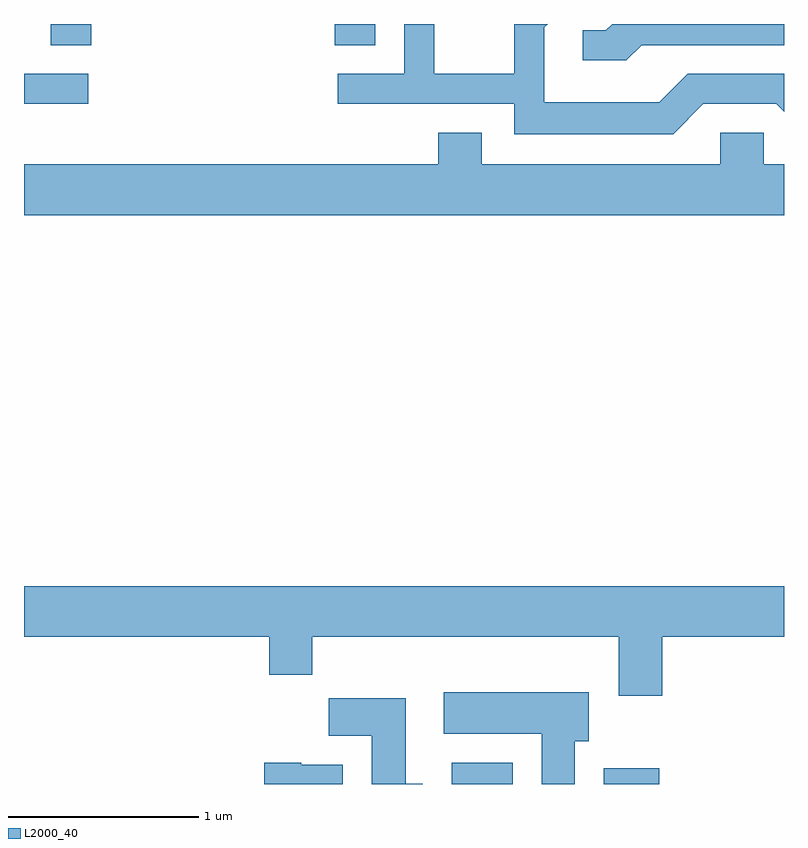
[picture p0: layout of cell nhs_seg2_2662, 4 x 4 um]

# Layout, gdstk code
import gdstk
lib = gdstk.Library(unit=1e-6, precision=1e-09)
def R(c, l, rs):  # rectangles x0, y0, x1, y1
    for r in rs: c.add(gdstk.rectangle(r[:2], r[2:], *l))
def P(c, l, *ps):  # polygons
    for p in ps: c.add(gdstk.Polygon(p, *l))
L2000_40 = (2000, 40)

nhs_seg2_2662 = lib.new_cell('nhs_seg2_2662')
R(nhs_seg2_2662, L2000_40, [(265.861,1009.802,266.184,1009.914), (266.661,1009.802,266.954,1009.884), (263.611,1013.381,263.948,1013.539), (263.751,1013.691,263.964,1013.802), (265.246,1013.691,265.459,1013.802)])
P(nhs_seg2_2662, L2000_40, [(267.187,1013.381),(267.569,1013.381),(267.611,1013.339),(267.611,1013.539),(267.104,1013.539),(266.954,1013.389),(266.349,1013.389),(266.349,1013.784),(266.367,1013.802),(266.191,1013.802),(266.191,1013.539),(265.769,1013.539),(265.769,1013.802),(265.611,1013.802),(265.611,1013.539),(265.263,1013.539),(265.263,1013.381),(266.191,1013.381),(266.191,1013.221),(267.027,1013.221)],
  [(266.862,1013.691),(267.611,1013.691),(267.611,1013.802),(266.707,1013.802),(266.674,1013.769),(266.553,1013.769),(266.553,1013.611),(266.782,1013.611)],
  [(267.611,1013.064),(267.504,1013.064),(267.504,1013.229),(267.276,1013.229),(267.276,1013.064),(266.019,1013.064),(266.019,1013.229),(265.791,1013.229),(265.791,1013.064),(263.611,1013.064),(263.611,1012.796),(267.611,1012.796)],
  [(266.969,1010.576),(267.611,1010.576),(267.611,1010.844),(263.611,1010.844),(263.611,1010.576),(264.901,1010.576),(264.901,1010.376),(265.129,1010.376),(265.129,1010.576),(266.741,1010.576),(266.741,1010.266),(266.969,1010.266)],
  [(266.509,1010.026),(266.584,1010.026),(266.584,1010.284),(265.821,1010.284),(265.821,1010.066),(266.336,1010.066),(266.336,1009.802),(266.509,1009.802)],
  [(265.709,1009.804),(265.619,1009.804),(265.619,1010.254),(265.216,1010.254),(265.216,1010.056),(265.441,1010.056),(265.441,1009.802),(265.709,1009.802)],
  [(265.289,1009.904),(265.07,1009.904),(265.07,1009.914),(264.876,1009.914),(264.876,1009.802),(265.289,1009.802)])

lib.write_gds('nhs_seg2_2662.gds')
